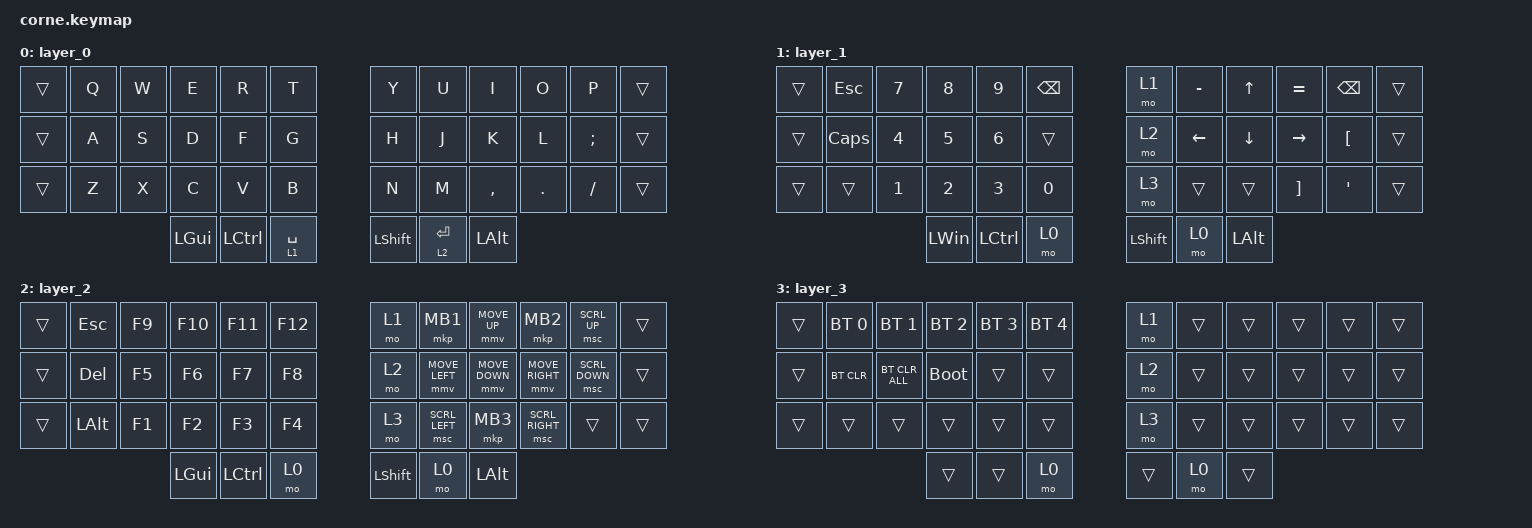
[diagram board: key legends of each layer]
/*
 * Copyright (c) 2020 The ZMK Contributors
 *
 * SPDX-License-Identifier: MIT
 */

#include <behaviors.dtsi>
#include <dt-bindings/zmk/bt.h>
#include <dt-bindings/zmk/keys.h>
#include <dt-bindings/zmk/pointing.h>

/ {
    keymap {
        compatible = "zmk,keymap";

        layer_0 {
            bindings = <
&trans  &kp Q  &kp W  &kp E     &kp R      &kp T          &kp Y      &kp U        &kp I      &kp O    &kp P     &trans
&trans  &kp A  &kp S  &kp D     &kp F      &kp G          &kp H      &kp J        &kp K      &kp L    &kp SEMI  &trans
&trans  &kp Z  &kp X  &kp C     &kp V      &kp B          &kp N      &kp M        &kp COMMA  &kp DOT  &kp FSLH  &trans
                      &kp LGUI  &kp LCTRL  &lt 1 SPACE    &kp LSHFT  &lt 2 ENTER  &kp LALT
            >;
        };

        layer_1 {
            bindings = <
&trans  &kp ESC   &kp N7  &kp N8        &kp N9     &kp BSPC    &mo 1           &kp MINUS  &kp UP        &kp EQUAL  &kp BSPC  &trans
&trans  &kp CAPS  &kp N4  &kp N5        &kp N6     &trans      &mo 2           &kp LEFT   &kp DOWN      &kp RIGHT  &kp LBKT  &trans
&trans  &trans    &kp N1  &kp N2        &kp N3     &kp N0      &mo 3           &trans     &trans        &kp RBKT   &kp SQT   &trans
                          &kp LEFT_WIN  &kp LCTRL  &mo 0       &kp LEFT_SHIFT  &mo 0      &kp LEFT_ALT
            >;
        };

        layer_2 {
            bindings = <
&trans  &kp ESC   &kp F9  &kp F10   &kp F11    &kp F12    &mo 1      &mkp MB1        &mmv MOVE_UP    &mkp MB2         &msc SCRL_UP    &trans
&trans  &kp DEL   &kp F5  &kp F6    &kp F7     &kp F8     &mo 2      &mmv MOVE_LEFT  &mmv MOVE_DOWN  &mmv MOVE_RIGHT  &msc SCRL_DOWN  &trans
&trans  &kp LALT  &kp F1  &kp F2    &kp F3     &kp F4     &mo 3      &msc SCRL_LEFT  &mkp MB3        &msc SCRL_RIGHT  &trans          &trans
                          &kp LGUI  &kp LCTRL  &mo 0      &kp LSHFT  &mo 0           &kp LALT
            >;
        };

        layer_3 {
            bindings = <
&trans  &bt BT_SEL 0  &bt BT_SEL 1    &bt BT_SEL 2  &bt BT_SEL 3  &bt BT_SEL 4    &mo 1   &trans  &trans  &trans  &trans  &trans
&trans  &bt BT_CLR    &bt BT_CLR_ALL  &bootloader   &trans        &trans          &mo 2   &trans  &trans  &trans  &trans  &trans
&trans  &trans        &trans          &trans        &trans        &trans          &mo 3   &trans  &trans  &trans  &trans  &trans
                                      &trans        &trans        &mo 0           &trans  &mo 0   &trans
            >;
        };
    };
};
